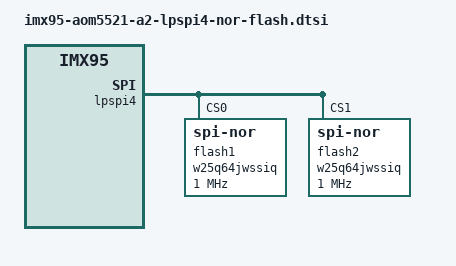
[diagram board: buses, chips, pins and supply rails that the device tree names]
/ {
	aliases {
		mtd2 = &flash1;
		mtd3 = &flash2;
	};
};

&lpspi4 {
	flash1: w25q64jwssiq@0 {
		reg = <0>;
		#address-cells = <1>;
		#size-cells = <1>;
		compatible = "jedec,spi-nor", "winbond,w25q64";
		spi-max-frequency = <1000000>;
	};

	flash2: w25q64jwssiq@1 {
		reg = <1>;
		#address-cells = <1>;
		#size-cells = <1>;
		compatible = "jedec,spi-nor", "winbond,w25q64";
		spi-max-frequency = <1000000>;
	};
};
